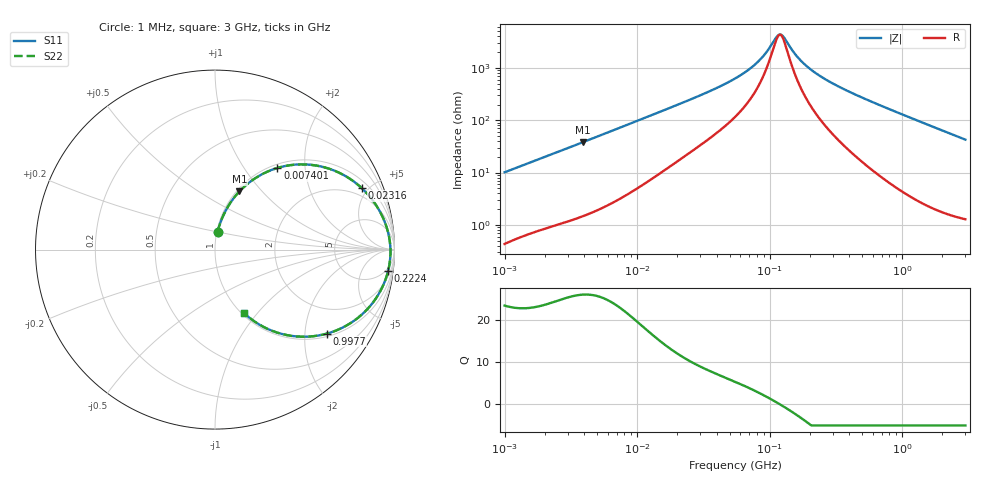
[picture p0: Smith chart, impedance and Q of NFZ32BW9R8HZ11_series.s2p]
! NFZ32BW9R8HZ11
# Hz S RI R 50
!Freq.(Hz) S11(Real) S11(Imag) S21(Real) S21(Imag) S12(Real) S12(Imag) S22(Real) S22(Imag)
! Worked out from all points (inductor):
!   401 points, 1 MHz to 3 GHz, reference 50 ohm
!   read as one part in series: L = 1.6 uH near 1.041 MHz
!   highest Q = 26 at 3.9 MHz (marker M1), where L = 1.55 uH
!   self-resonance near 119.5 MHz
!   S11 on the Smith chart (normalised r, x): 1 MHz: 1.01, +0.20; 7.401 MHz: 1.06, +1.44; 23.16 MHz: 1.42, +4.54; 222.4 MHz: 4, -16; 997.7 MHz: 1.09, -2.59; 3 GHz: 1.03, -0.85
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1000000  0.0143 0.0993  0.9857 -0.0993  0.9857 -0.0993  0.0143 0.0993
2182827  0.0522 0.2024  0.9478 -0.2024  0.9478 -0.2024  0.0522 0.2024
3823119  0.1318 0.3196  0.8682 -0.3196  0.8682 -0.3196  0.1318 0.3196
3900413  0.1362 0.3243  0.8638 -0.3243  0.8638 -0.3243  0.1362 0.3243
7400828  0.3478 0.4549  0.6522 -0.4549  0.6522 -0.4549  0.3478 0.4549
1.040059e7  0.5057 0.4745  0.4943 -0.4745  0.4943 -0.4745  0.5057 0.4745
1.461624e7  0.66 0.4419  0.34 -0.4419  0.34 -0.4419  0.66 0.4419
2.316168e7  0.8172 0.343  0.1828 -0.343  0.1828 -0.343  0.8172 0.343
5.477226e7  0.9495 0.1446  0.0505 -0.1446  0.0505 -0.1446  0.9495 0.1446
8.173662e7  0.9706 0.0679  0.0294 -0.0679  0.0294 -0.0679  0.9706 0.0679
9.402997e7  0.9744 0.0426  0.0256 -0.0426  0.0256 -0.0426  0.9744 0.0426
1.125904e8  0.9772 0.0106  0.0228 -0.0106  0.0228 -0.0106  0.9772 0.0106
1.195584e8  0.9776 -3.71e-05  0.0224 3.71e-05  0.0224 3.71e-05  0.9776 -3.71e-05
1.269575e8  0.9777 -0.0107  0.0223 0.0107  0.0223 0.0107  0.9777 -0.0107
1.680187e8  0.9748 -0.0617  0.0252 0.0617  0.0252 0.0617  0.9748 -0.0617
2.094008e8  0.9678 -0.1045  0.0322 0.1045  0.0322 0.1045  0.9678 -0.1045
2.223601e8  0.965 -0.1167  0.035 0.1167  0.035 0.1167  0.965 -0.1167
3.894533e8  0.9124 -0.2467  0.0876 0.2467  0.0876 0.2467  0.9124 -0.2467
8.005644e8  0.7189 -0.4305  0.2811 0.4305  0.2811 0.4305  0.7189 -0.4305
9.977393e8  0.6233 -0.4681  0.3767 0.4681  0.3767 0.4681  0.6233 -0.4681
1.613037e9  0.3905 -0.4742  0.6095 0.4742  0.6095 0.4742  0.3905 -0.4742
3e9  0.161 -0.3528  0.839 0.3528  0.839 0.3528  0.161 -0.3528
